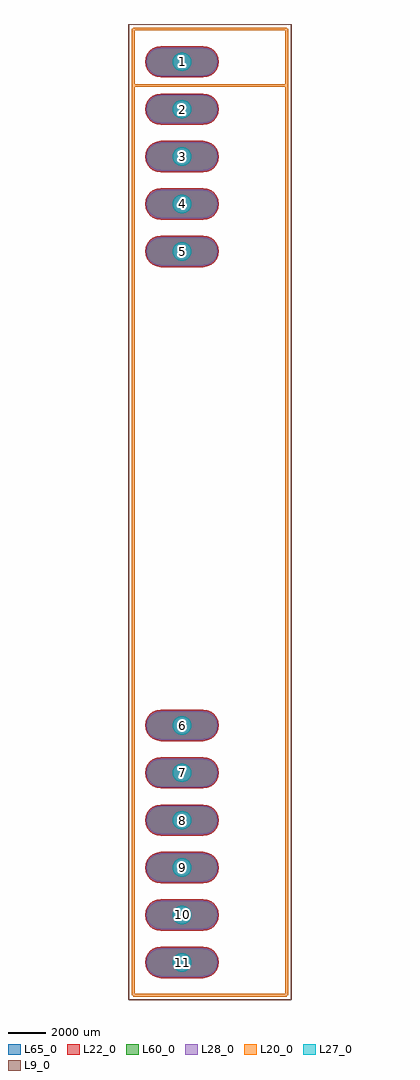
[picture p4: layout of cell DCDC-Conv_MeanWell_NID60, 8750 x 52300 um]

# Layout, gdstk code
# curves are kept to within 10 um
import gdstk
lib = gdstk.Library(unit=1e-6, precision=1e-09)
def P(c, l, *ps):  # polygons
    for p in ps: c.add(gdstk.Polygon(p, *l))
L9_0 = (9, 0)
L20_0 = (20, 0)
L22_0 = (22, 0)
L27_0 = (27, 0)
L28_0 = (28, 0)
L60_0 = (60, 0)
L65_0 = (65, 0)

dcdc_conv_meanwell_nid60 = lib.new_cell('DCDC-Conv_MeanWell_NID60')
P(dcdc_conv_meanwell_nid60, L22_0, [(-1143,-49097),(1143,-49097),(1359.632,-49068.48),(1561.5,-48984.863),(1734.848,-48851.848),(1867.863,-48678.5),(1951.48,-48476.632),(1980,-48260),(1951.48,-48043.368),(1867.863,-47841.5),(1734.848,-47668.152),(1561.5,-47535.137),(1359.632,-47451.52),(1143,-47423),(-1143,-47423),(-1359.632,-47451.52),(-1561.5,-47535.137),(-1734.848,-47668.152),(-1867.863,-47841.5),(-1951.48,-48043.368),(-1980,-48260),(-1951.48,-48476.632),(-1867.863,-48678.5),(-1734.848,-48851.848),(-1561.5,-48984.863),(-1359.632,-49068.48)],
  [(-1143,-46557),(1143,-46557),(1359.632,-46528.48),(1561.5,-46444.863),(1734.848,-46311.848),(1867.863,-46138.5),(1951.48,-45936.632),(1980,-45720),(1951.48,-45503.368),(1867.863,-45301.5),(1734.848,-45128.152),(1561.5,-44995.137),(1359.632,-44911.52),(1143,-44883),(-1143,-44883),(-1359.632,-44911.52),(-1561.5,-44995.137),(-1734.848,-45128.152),(-1867.863,-45301.5),(-1951.48,-45503.368),(-1980,-45720),(-1951.48,-45936.632),(-1867.863,-46138.5),(-1734.848,-46311.848),(-1561.5,-46444.863),(-1359.632,-46528.48)],
  [(-1143,-44017),(1143,-44017),(1359.632,-43988.48),(1561.5,-43904.863),(1734.848,-43771.848),(1867.863,-43598.5),(1951.48,-43396.632),(1980,-43180),(1951.48,-42963.368),(1867.863,-42761.5),(1734.848,-42588.152),(1561.5,-42455.137),(1359.632,-42371.52),(1143,-42343),(-1143,-42343),(-1359.632,-42371.52),(-1561.5,-42455.137),(-1734.848,-42588.152),(-1867.863,-42761.5),(-1951.48,-42963.368),(-1980,-43180),(-1951.48,-43396.632),(-1867.863,-43598.5),(-1734.848,-43771.848),(-1561.5,-43904.863),(-1359.632,-43988.48)],
  [(-1143,-41477),(1143,-41477),(1359.632,-41448.48),(1561.5,-41364.863),(1734.848,-41231.848),(1867.863,-41058.5),(1951.48,-40856.632),(1980,-40640),(1951.48,-40423.368),(1867.863,-40221.5),(1734.848,-40048.152),(1561.5,-39915.137),(1359.632,-39831.52),(1143,-39803),(-1143,-39803),(-1359.632,-39831.52),(-1561.5,-39915.137),(-1734.848,-40048.152),(-1867.863,-40221.5),(-1951.48,-40423.368),(-1980,-40640),(-1951.48,-40856.632),(-1867.863,-41058.5),(-1734.848,-41231.848),(-1561.5,-41364.863),(-1359.632,-41448.48)],
  [(-1143,-38937),(1143,-38937),(1359.632,-38908.48),(1561.5,-38824.863),(1734.848,-38691.848),(1867.863,-38518.5),(1951.48,-38316.632),(1980,-38100),(1951.48,-37883.368),(1867.863,-37681.5),(1734.848,-37508.152),(1561.5,-37375.137),(1359.632,-37291.52),(1143,-37263),(-1143,-37263),(-1359.632,-37291.52),(-1561.5,-37375.137),(-1734.848,-37508.152),(-1867.863,-37681.5),(-1951.48,-37883.368),(-1980,-38100),(-1951.48,-38316.632),(-1867.863,-38518.5),(-1734.848,-38691.848),(-1561.5,-38824.863),(-1359.632,-38908.48)],
  [(-1143,-36397),(1143,-36397),(1359.632,-36368.48),(1561.5,-36284.863),(1734.848,-36151.848),(1867.863,-35978.5),(1951.48,-35776.632),(1980,-35560),(1951.48,-35343.368),(1867.863,-35141.5),(1734.848,-34968.152),(1561.5,-34835.137),(1359.632,-34751.52),(1143,-34723),(-1143,-34723),(-1359.632,-34751.52),(-1561.5,-34835.137),(-1734.848,-34968.152),(-1867.863,-35141.5),(-1951.48,-35343.368),(-1980,-35560),(-1951.48,-35776.632),(-1867.863,-35978.5),(-1734.848,-36151.848),(-1561.5,-36284.863),(-1359.632,-36368.48)],
  [(-1143,-10997),(1143,-10997),(1359.632,-10968.48),(1561.5,-10884.863),(1734.848,-10751.848),(1867.863,-10578.5),(1951.48,-10376.632),(1980,-10160),(1951.48,-9943.368),(1867.863,-9741.5),(1734.848,-9568.152),(1561.5,-9435.137),(1359.632,-9351.52),(1143,-9323),(-1143,-9323),(-1359.632,-9351.52),(-1561.5,-9435.137),(-1734.848,-9568.152),(-1867.863,-9741.5),(-1951.48,-9943.368),(-1980,-10160),(-1951.48,-10376.632),(-1867.863,-10578.5),(-1734.848,-10751.848),(-1561.5,-10884.863),(-1359.632,-10968.48)],
  [(-1143,-8457),(1143,-8457),(1359.632,-8428.48),(1561.5,-8344.863),(1734.848,-8211.848),(1867.863,-8038.5),(1951.48,-7836.632),(1980,-7620),(1951.48,-7403.368),(1867.863,-7201.5),(1734.848,-7028.152),(1561.5,-6895.137),(1359.632,-6811.52),(1143,-6783),(-1143,-6783),(-1359.632,-6811.52),(-1561.5,-6895.137),(-1734.848,-7028.152),(-1867.863,-7201.5),(-1951.48,-7403.368),(-1980,-7620),(-1951.48,-7836.632),(-1867.863,-8038.5),(-1734.848,-8211.848),(-1561.5,-8344.863),(-1359.632,-8428.48)],
  [(-1143,-5917),(1143,-5917),(1359.632,-5888.48),(1561.5,-5804.863),(1734.848,-5671.848),(1867.863,-5498.5),(1951.48,-5296.632),(1980,-5080),(1951.48,-4863.368),(1867.863,-4661.5),(1734.848,-4488.152),(1561.5,-4355.137),(1359.632,-4271.52),(1143,-4243),(-1143,-4243),(-1359.632,-4271.52),(-1561.5,-4355.137),(-1734.848,-4488.152),(-1867.863,-4661.5),(-1951.48,-4863.368),(-1980,-5080),(-1951.48,-5296.632),(-1867.863,-5498.5),(-1734.848,-5671.848),(-1561.5,-5804.863),(-1359.632,-5888.48)],
  [(-1143,-3377),(1143,-3377),(1359.632,-3348.48),(1561.5,-3264.863),(1734.848,-3131.848),(1867.863,-2958.5),(1951.48,-2756.632),(1980,-2540),(1951.48,-2323.368),(1867.863,-2121.5),(1734.848,-1948.152),(1561.5,-1815.137),(1359.632,-1731.52),(1143,-1703),(-1143,-1703),(-1359.632,-1731.52),(-1561.5,-1815.137),(-1734.848,-1948.152),(-1867.863,-2121.5),(-1951.48,-2323.368),(-1980,-2540),(-1951.48,-2756.632),(-1867.863,-2958.5),(-1734.848,-3131.848),(-1561.5,-3264.863),(-1359.632,-3348.48)],
  [(-1143,-837),(1143,-837),(1359.632,-808.48),(1561.5,-724.863),(1734.848,-591.848),(1867.863,-418.5),(1951.48,-216.632),(1980,0),(1951.48,216.632),(1867.863,418.5),(1734.848,591.848),(1561.5,724.863),(1359.632,808.48),(1143,837),(-1143,837),(-1359.632,808.48),(-1561.5,724.863),(-1734.848,591.848),(-1867.863,418.5),(-1951.48,216.632),(-1980,0),(-1951.48,-216.632),(-1867.863,-418.5),(-1734.848,-591.848),(-1561.5,-724.863),(-1359.632,-808.48)])
P(dcdc_conv_meanwell_nid60, L27_0, [(499.999,-48260),(461.939,-48068.659),(353.553,-47906.447),(191.341,-47798.061),(0,-47760.001),(-191.341,-47798.061),(-353.553,-47906.447),(-461.939,-48068.659),(-499.999,-48260),(-461.939,-48451.341),(-353.553,-48613.553),(-191.341,-48721.939),(0,-48759.999),(191.341,-48721.939),(353.553,-48613.553),(461.939,-48451.341)],
  [(499.999,-45720),(461.939,-45528.659),(353.553,-45366.447),(191.341,-45258.061),(0,-45220.001),(-191.341,-45258.061),(-353.553,-45366.447),(-461.939,-45528.659),(-499.999,-45720),(-461.939,-45911.341),(-353.553,-46073.553),(-191.341,-46181.939),(0,-46219.999),(191.341,-46181.939),(353.553,-46073.553),(461.939,-45911.341)],
  [(499.999,-43180),(461.939,-42988.659),(353.553,-42826.447),(191.341,-42718.061),(0,-42680.001),(-191.341,-42718.061),(-353.553,-42826.447),(-461.939,-42988.659),(-499.999,-43180),(-461.939,-43371.341),(-353.553,-43533.553),(-191.341,-43641.939),(0,-43679.999),(191.341,-43641.939),(353.553,-43533.553),(461.939,-43371.341)],
  [(499.999,-40640),(461.939,-40448.659),(353.553,-40286.447),(191.341,-40178.061),(0,-40140.001),(-191.341,-40178.061),(-353.553,-40286.447),(-461.939,-40448.659),(-499.999,-40640),(-461.939,-40831.341),(-353.553,-40993.553),(-191.341,-41101.939),(0,-41139.999),(191.341,-41101.939),(353.553,-40993.553),(461.939,-40831.341)],
  [(499.999,-38100),(461.939,-37908.659),(353.553,-37746.447),(191.341,-37638.061),(0,-37600.001),(-191.341,-37638.061),(-353.553,-37746.447),(-461.939,-37908.659),(-499.999,-38100),(-461.939,-38291.341),(-353.553,-38453.553),(-191.341,-38561.939),(0,-38599.999),(191.341,-38561.939),(353.553,-38453.553),(461.939,-38291.341)],
  [(499.999,-35560),(461.939,-35368.659),(353.553,-35206.447),(191.341,-35098.061),(0,-35060.001),(-191.341,-35098.061),(-353.553,-35206.447),(-461.939,-35368.659),(-499.999,-35560),(-461.939,-35751.341),(-353.553,-35913.553),(-191.341,-36021.939),(0,-36059.999),(191.341,-36021.939),(353.553,-35913.553),(461.939,-35751.341)],
  [(499.999,-10160),(461.939,-9968.659),(353.553,-9806.447),(191.341,-9698.061),(0,-9660.001),(-191.341,-9698.061),(-353.553,-9806.447),(-461.939,-9968.659),(-499.999,-10160),(-461.939,-10351.341),(-353.553,-10513.553),(-191.341,-10621.939),(0,-10659.999),(191.341,-10621.939),(353.553,-10513.553),(461.939,-10351.341)],
  [(499.999,-7620),(461.939,-7428.659),(353.553,-7266.447),(191.341,-7158.061),(0,-7120.001),(-191.341,-7158.061),(-353.553,-7266.447),(-461.939,-7428.659),(-499.999,-7620),(-461.939,-7811.341),(-353.553,-7973.553),(-191.341,-8081.939),(0,-8119.999),(191.341,-8081.939),(353.553,-7973.553),(461.939,-7811.341)],
  [(499.999,-5080),(461.939,-4888.659),(353.553,-4726.447),(191.341,-4618.061),(0,-4580.001),(-191.341,-4618.061),(-353.553,-4726.447),(-461.939,-4888.659),(-499.999,-5080),(-461.939,-5271.341),(-353.553,-5433.553),(-191.341,-5541.939),(0,-5579.999),(191.341,-5541.939),(353.553,-5433.553),(461.939,-5271.341)],
  [(499.999,-2540),(461.939,-2348.659),(353.553,-2186.447),(191.341,-2078.061),(0,-2040.001),(-191.341,-2078.061),(-353.553,-2186.447),(-461.939,-2348.659),(-499.999,-2540),(-461.939,-2731.341),(-353.553,-2893.553),(-191.341,-3001.939),(0,-3039.999),(191.341,-3001.939),(353.553,-2893.553),(461.939,-2731.341)],
  [(499.999,0),(461.939,191.341),(353.553,353.553),(191.341,461.939),(0,499.999),(-191.341,461.939),(-353.553,353.553),(-461.939,191.341),(-499.999,0),(-461.939,-191.341),(-353.553,-353.553),(-191.341,-461.939),(0,-499.999),(191.341,-461.939),(353.553,-353.553),(461.939,-191.341)])
P(dcdc_conv_meanwell_nid60, L28_0, [(-1143,-49022),(1143,-49022),(1340.22,-48996.035),(1524,-48919.911),(1681.815,-48798.815),(1802.911,-48641),(1879.035,-48457.22),(1905,-48260),(1879.035,-48062.78),(1802.911,-47879),(1681.815,-47721.185),(1524,-47600.089),(1340.22,-47523.965),(1143,-47498),(-1143,-47498),(-1340.22,-47523.965),(-1524,-47600.089),(-1681.815,-47721.185),(-1802.911,-47879),(-1879.035,-48062.78),(-1905,-48260),(-1879.035,-48457.22),(-1802.911,-48641),(-1681.815,-48798.815),(-1524,-48919.911),(-1340.22,-48996.035)],
  [(-1143,-46482),(1143,-46482),(1340.22,-46456.035),(1524,-46379.911),(1681.815,-46258.815),(1802.911,-46101),(1879.035,-45917.22),(1905,-45720),(1879.035,-45522.78),(1802.911,-45339),(1681.815,-45181.185),(1524,-45060.089),(1340.22,-44983.965),(1143,-44958),(-1143,-44958),(-1340.22,-44983.965),(-1524,-45060.089),(-1681.815,-45181.185),(-1802.911,-45339),(-1879.035,-45522.78),(-1905,-45720),(-1879.035,-45917.22),(-1802.911,-46101),(-1681.815,-46258.815),(-1524,-46379.911),(-1340.22,-46456.035)],
  [(-1143,-43942),(1143,-43942),(1340.22,-43916.035),(1524,-43839.911),(1681.815,-43718.815),(1802.911,-43561),(1879.035,-43377.22),(1905,-43180),(1879.035,-42982.78),(1802.911,-42799),(1681.815,-42641.185),(1524,-42520.089),(1340.22,-42443.965),(1143,-42418),(-1143,-42418),(-1340.22,-42443.965),(-1524,-42520.089),(-1681.815,-42641.185),(-1802.911,-42799),(-1879.035,-42982.78),(-1905,-43180),(-1879.035,-43377.22),(-1802.911,-43561),(-1681.815,-43718.815),(-1524,-43839.911),(-1340.22,-43916.035)],
  [(-1143,-41402),(1143,-41402),(1340.22,-41376.035),(1524,-41299.911),(1681.815,-41178.815),(1802.911,-41021),(1879.035,-40837.22),(1905,-40640),(1879.035,-40442.78),(1802.911,-40259),(1681.815,-40101.185),(1524,-39980.089),(1340.22,-39903.965),(1143,-39878),(-1143,-39878),(-1340.22,-39903.965),(-1524,-39980.089),(-1681.815,-40101.185),(-1802.911,-40259),(-1879.035,-40442.78),(-1905,-40640),(-1879.035,-40837.22),(-1802.911,-41021),(-1681.815,-41178.815),(-1524,-41299.911),(-1340.22,-41376.035)],
  [(-1143,-38862),(1143,-38862),(1340.22,-38836.035),(1524,-38759.911),(1681.815,-38638.815),(1802.911,-38481),(1879.035,-38297.22),(1905,-38100),(1879.035,-37902.78),(1802.911,-37719),(1681.815,-37561.185),(1524,-37440.089),(1340.22,-37363.965),(1143,-37338),(-1143,-37338),(-1340.22,-37363.965),(-1524,-37440.089),(-1681.815,-37561.185),(-1802.911,-37719),(-1879.035,-37902.78),(-1905,-38100),(-1879.035,-38297.22),(-1802.911,-38481),(-1681.815,-38638.815),(-1524,-38759.911),(-1340.22,-38836.035)],
  [(-1143,-36322),(1143,-36322),(1340.22,-36296.035),(1524,-36219.911),(1681.815,-36098.815),(1802.911,-35941),(1879.035,-35757.22),(1905,-35560),(1879.035,-35362.78),(1802.911,-35179),(1681.815,-35021.185),(1524,-34900.089),(1340.22,-34823.965),(1143,-34798),(-1143,-34798),(-1340.22,-34823.965),(-1524,-34900.089),(-1681.815,-35021.185),(-1802.911,-35179),(-1879.035,-35362.78),(-1905,-35560),(-1879.035,-35757.22),(-1802.911,-35941),(-1681.815,-36098.815),(-1524,-36219.911),(-1340.22,-36296.035)],
  [(-1143,-10922),(1143,-10922),(1340.22,-10896.035),(1524,-10819.911),(1681.815,-10698.815),(1802.911,-10541),(1879.035,-10357.22),(1905,-10160),(1879.035,-9962.78),(1802.911,-9779),(1681.815,-9621.185),(1524,-9500.089),(1340.22,-9423.965),(1143,-9398),(-1143,-9398),(-1340.22,-9423.965),(-1524,-9500.089),(-1681.815,-9621.185),(-1802.911,-9779),(-1879.035,-9962.78),(-1905,-10160),(-1879.035,-10357.22),(-1802.911,-10541),(-1681.815,-10698.815),(-1524,-10819.911),(-1340.22,-10896.035)],
  [(-1143,-8382),(1143,-8382),(1340.22,-8356.035),(1524,-8279.911),(1681.815,-8158.815),(1802.911,-8001),(1879.035,-7817.22),(1905,-7620),(1879.035,-7422.78),(1802.911,-7239),(1681.815,-7081.185),(1524,-6960.089),(1340.22,-6883.965),(1143,-6858),(-1143,-6858),(-1340.22,-6883.965),(-1524,-6960.089),(-1681.815,-7081.185),(-1802.911,-7239),(-1879.035,-7422.78),(-1905,-7620),(-1879.035,-7817.22),(-1802.911,-8001),(-1681.815,-8158.815),(-1524,-8279.911),(-1340.22,-8356.035)],
  [(-1143,-5842),(1143,-5842),(1340.22,-5816.035),(1524,-5739.911),(1681.815,-5618.815),(1802.911,-5461),(1879.035,-5277.22),(1905,-5080),(1879.035,-4882.78),(1802.911,-4699),(1681.815,-4541.185),(1524,-4420.089),(1340.22,-4343.965),(1143,-4318),(-1143,-4318),(-1340.22,-4343.965),(-1524,-4420.089),(-1681.815,-4541.185),(-1802.911,-4699),(-1879.035,-4882.78),(-1905,-5080),(-1879.035,-5277.22),(-1802.911,-5461),(-1681.815,-5618.815),(-1524,-5739.911),(-1340.22,-5816.035)],
  [(-1143,-3302),(1143,-3302),(1340.22,-3276.035),(1524,-3199.911),(1681.815,-3078.815),(1802.911,-2921),(1879.035,-2737.22),(1905,-2540),(1879.035,-2342.78),(1802.911,-2159),(1681.815,-2001.185),(1524,-1880.089),(1340.22,-1803.965),(1143,-1778),(-1143,-1778),(-1340.22,-1803.965),(-1524,-1880.089),(-1681.815,-2001.185),(-1802.911,-2159),(-1879.035,-2342.78),(-1905,-2540),(-1879.035,-2737.22),(-1802.911,-2921),(-1681.815,-3078.815),(-1524,-3199.911),(-1340.22,-3276.035)],
  [(-1143,-762),(1143,-762),(1340.22,-736.035),(1524,-659.911),(1681.815,-538.815),(1802.911,-381),(1879.035,-197.22),(1905,0),(1879.035,197.22),(1802.911,381),(1681.815,538.815),(1524,659.911),(1340.22,736.035),(1143,762),(-1143,762),(-1340.22,736.035),(-1524,659.911),(-1681.815,538.815),(-1802.911,381),(-1879.035,197.22),(-1905,0),(-1879.035,-197.22),(-1802.911,-381),(-1681.815,-538.815),(-1524,-659.911),(-1340.22,-736.035)])
P(dcdc_conv_meanwell_nid60, L60_0, [(-1143,-49022),(1143,-49022),(1340.22,-48996.035),(1524,-48919.911),(1681.815,-48798.815),(1802.911,-48641),(1879.035,-48457.22),(1905,-48260),(1879.035,-48062.78),(1802.911,-47879),(1681.815,-47721.185),(1524,-47600.089),(1340.22,-47523.965),(1143,-47498),(-1143,-47498),(-1340.22,-47523.965),(-1524,-47600.089),(-1681.815,-47721.185),(-1802.911,-47879),(-1879.035,-48062.78),(-1905,-48260),(-1879.035,-48457.22),(-1802.911,-48641),(-1681.815,-48798.815),(-1524,-48919.911),(-1340.22,-48996.035)],
  [(-1143,-46482),(1143,-46482),(1340.22,-46456.035),(1524,-46379.911),(1681.815,-46258.815),(1802.911,-46101),(1879.035,-45917.22),(1905,-45720),(1879.035,-45522.78),(1802.911,-45339),(1681.815,-45181.185),(1524,-45060.089),(1340.22,-44983.965),(1143,-44958),(-1143,-44958),(-1340.22,-44983.965),(-1524,-45060.089),(-1681.815,-45181.185),(-1802.911,-45339),(-1879.035,-45522.78),(-1905,-45720),(-1879.035,-45917.22),(-1802.911,-46101),(-1681.815,-46258.815),(-1524,-46379.911),(-1340.22,-46456.035)],
  [(-1143,-43942),(1143,-43942),(1340.22,-43916.035),(1524,-43839.911),(1681.815,-43718.815),(1802.911,-43561),(1879.035,-43377.22),(1905,-43180),(1879.035,-42982.78),(1802.911,-42799),(1681.815,-42641.185),(1524,-42520.089),(1340.22,-42443.965),(1143,-42418),(-1143,-42418),(-1340.22,-42443.965),(-1524,-42520.089),(-1681.815,-42641.185),(-1802.911,-42799),(-1879.035,-42982.78),(-1905,-43180),(-1879.035,-43377.22),(-1802.911,-43561),(-1681.815,-43718.815),(-1524,-43839.911),(-1340.22,-43916.035)],
  [(-1143,-41402),(1143,-41402),(1340.22,-41376.035),(1524,-41299.911),(1681.815,-41178.815),(1802.911,-41021),(1879.035,-40837.22),(1905,-40640),(1879.035,-40442.78),(1802.911,-40259),(1681.815,-40101.185),(1524,-39980.089),(1340.22,-39903.965),(1143,-39878),(-1143,-39878),(-1340.22,-39903.965),(-1524,-39980.089),(-1681.815,-40101.185),(-1802.911,-40259),(-1879.035,-40442.78),(-1905,-40640),(-1879.035,-40837.22),(-1802.911,-41021),(-1681.815,-41178.815),(-1524,-41299.911),(-1340.22,-41376.035)],
  [(-1143,-38862),(1143,-38862),(1340.22,-38836.035),(1524,-38759.911),(1681.815,-38638.815),(1802.911,-38481),(1879.035,-38297.22),(1905,-38100),(1879.035,-37902.78),(1802.911,-37719),(1681.815,-37561.185),(1524,-37440.089),(1340.22,-37363.965),(1143,-37338),(-1143,-37338),(-1340.22,-37363.965),(-1524,-37440.089),(-1681.815,-37561.185),(-1802.911,-37719),(-1879.035,-37902.78),(-1905,-38100),(-1879.035,-38297.22),(-1802.911,-38481),(-1681.815,-38638.815),(-1524,-38759.911),(-1340.22,-38836.035)],
  [(-1143,-36322),(1143,-36322),(1340.22,-36296.035),(1524,-36219.911),(1681.815,-36098.815),(1802.911,-35941),(1879.035,-35757.22),(1905,-35560),(1879.035,-35362.78),(1802.911,-35179),(1681.815,-35021.185),(1524,-34900.089),(1340.22,-34823.965),(1143,-34798),(-1143,-34798),(-1340.22,-34823.965),(-1524,-34900.089),(-1681.815,-35021.185),(-1802.911,-35179),(-1879.035,-35362.78),(-1905,-35560),(-1879.035,-35757.22),(-1802.911,-35941),(-1681.815,-36098.815),(-1524,-36219.911),(-1340.22,-36296.035)],
  [(-1143,-10922),(1143,-10922),(1340.22,-10896.035),(1524,-10819.911),(1681.815,-10698.815),(1802.911,-10541),(1879.035,-10357.22),(1905,-10160),(1879.035,-9962.78),(1802.911,-9779),(1681.815,-9621.185),(1524,-9500.089),(1340.22,-9423.965),(1143,-9398),(-1143,-9398),(-1340.22,-9423.965),(-1524,-9500.089),(-1681.815,-9621.185),(-1802.911,-9779),(-1879.035,-9962.78),(-1905,-10160),(-1879.035,-10357.22),(-1802.911,-10541),(-1681.815,-10698.815),(-1524,-10819.911),(-1340.22,-10896.035)],
  [(-1143,-8382),(1143,-8382),(1340.22,-8356.035),(1524,-8279.911),(1681.815,-8158.815),(1802.911,-8001),(1879.035,-7817.22),(1905,-7620),(1879.035,-7422.78),(1802.911,-7239),(1681.815,-7081.185),(1524,-6960.089),(1340.22,-6883.965),(1143,-6858),(-1143,-6858),(-1340.22,-6883.965),(-1524,-6960.089),(-1681.815,-7081.185),(-1802.911,-7239),(-1879.035,-7422.78),(-1905,-7620),(-1879.035,-7817.22),(-1802.911,-8001),(-1681.815,-8158.815),(-1524,-8279.911),(-1340.22,-8356.035)],
  [(-1143,-5842),(1143,-5842),(1340.22,-5816.035),(1524,-5739.911),(1681.815,-5618.815),(1802.911,-5461),(1879.035,-5277.22),(1905,-5080),(1879.035,-4882.78),(1802.911,-4699),(1681.815,-4541.185),(1524,-4420.089),(1340.22,-4343.965),(1143,-4318),(-1143,-4318),(-1340.22,-4343.965),(-1524,-4420.089),(-1681.815,-4541.185),(-1802.911,-4699),(-1879.035,-4882.78),(-1905,-5080),(-1879.035,-5277.22),(-1802.911,-5461),(-1681.815,-5618.815),(-1524,-5739.911),(-1340.22,-5816.035)],
  [(-1143,-3302),(1143,-3302),(1340.22,-3276.035),(1524,-3199.911),(1681.815,-3078.815),(1802.911,-2921),(1879.035,-2737.22),(1905,-2540),(1879.035,-2342.78),(1802.911,-2159),(1681.815,-2001.185),(1524,-1880.089),(1340.22,-1803.965),(1143,-1778),(-1143,-1778),(-1340.22,-1803.965),(-1524,-1880.089),(-1681.815,-2001.185),(-1802.911,-2159),(-1879.035,-2342.78),(-1905,-2540),(-1879.035,-2737.22),(-1802.911,-2921),(-1681.815,-3078.815),(-1524,-3199.911),(-1340.22,-3276.035)],
  [(-1143,-762),(1143,-762),(1340.22,-736.035),(1524,-659.911),(1681.815,-538.815),(1802.911,-381),(1879.035,-197.22),(1905,0),(1879.035,197.22),(1802.911,381),(1681.815,538.815),(1524,659.911),(1340.22,736.035),(1143,762),(-1143,762),(-1340.22,736.035),(-1524,659.911),(-1681.815,538.815),(-1802.911,381),(-1879.035,197.22),(-1905,0),(-1879.035,-197.22),(-1802.911,-381),(-1681.815,-538.815),(-1524,-659.911),(-1340.22,-736.035)])
P(dcdc_conv_meanwell_nid60, L65_0, [(-1143,-49097),(1143,-49097),(1359.632,-49068.48),(1561.5,-48984.863),(1734.848,-48851.848),(1867.863,-48678.5),(1951.48,-48476.632),(1980,-48260),(1951.48,-48043.368),(1867.863,-47841.5),(1734.848,-47668.152),(1561.5,-47535.137),(1359.632,-47451.52),(1143,-47423),(-1143,-47423),(-1359.632,-47451.52),(-1561.5,-47535.137),(-1734.848,-47668.152),(-1867.863,-47841.5),(-1951.48,-48043.368),(-1980,-48260),(-1951.48,-48476.632),(-1867.863,-48678.5),(-1734.848,-48851.848),(-1561.5,-48984.863),(-1359.632,-49068.48)],
  [(-1143,-46557),(1143,-46557),(1359.632,-46528.48),(1561.5,-46444.863),(1734.848,-46311.848),(1867.863,-46138.5),(1951.48,-45936.632),(1980,-45720),(1951.48,-45503.368),(1867.863,-45301.5),(1734.848,-45128.152),(1561.5,-44995.137),(1359.632,-44911.52),(1143,-44883),(-1143,-44883),(-1359.632,-44911.52),(-1561.5,-44995.137),(-1734.848,-45128.152),(-1867.863,-45301.5),(-1951.48,-45503.368),(-1980,-45720),(-1951.48,-45936.632),(-1867.863,-46138.5),(-1734.848,-46311.848),(-1561.5,-46444.863),(-1359.632,-46528.48)],
  [(-1143,-44017),(1143,-44017),(1359.632,-43988.48),(1561.5,-43904.863),(1734.848,-43771.848),(1867.863,-43598.5),(1951.48,-43396.632),(1980,-43180),(1951.48,-42963.368),(1867.863,-42761.5),(1734.848,-42588.152),(1561.5,-42455.137),(1359.632,-42371.52),(1143,-42343),(-1143,-42343),(-1359.632,-42371.52),(-1561.5,-42455.137),(-1734.848,-42588.152),(-1867.863,-42761.5),(-1951.48,-42963.368),(-1980,-43180),(-1951.48,-43396.632),(-1867.863,-43598.5),(-1734.848,-43771.848),(-1561.5,-43904.863),(-1359.632,-43988.48)],
  [(-1143,-41477),(1143,-41477),(1359.632,-41448.48),(1561.5,-41364.863),(1734.848,-41231.848),(1867.863,-41058.5),(1951.48,-40856.632),(1980,-40640),(1951.48,-40423.368),(1867.863,-40221.5),(1734.848,-40048.152),(1561.5,-39915.137),(1359.632,-39831.52),(1143,-39803),(-1143,-39803),(-1359.632,-39831.52),(-1561.5,-39915.137),(-1734.848,-40048.152),(-1867.863,-40221.5),(-1951.48,-40423.368),(-1980,-40640),(-1951.48,-40856.632),(-1867.863,-41058.5),(-1734.848,-41231.848),(-1561.5,-41364.863),(-1359.632,-41448.48)],
  [(-1143,-38937),(1143,-38937),(1359.632,-38908.48),(1561.5,-38824.863),(1734.848,-38691.848),(1867.863,-38518.5),(1951.48,-38316.632),(1980,-38100),(1951.48,-37883.368),(1867.863,-37681.5),(1734.848,-37508.152),(1561.5,-37375.137),(1359.632,-37291.52),(1143,-37263),(-1143,-37263),(-1359.632,-37291.52),(-1561.5,-37375.137),(-1734.848,-37508.152),(-1867.863,-37681.5),(-1951.48,-37883.368),(-1980,-38100),(-1951.48,-38316.632),(-1867.863,-38518.5),(-1734.848,-38691.848),(-1561.5,-38824.863),(-1359.632,-38908.48)],
  [(-1143,-36397),(1143,-36397),(1359.632,-36368.48),(1561.5,-36284.863),(1734.848,-36151.848),(1867.863,-35978.5),(1951.48,-35776.632),(1980,-35560),(1951.48,-35343.368),(1867.863,-35141.5),(1734.848,-34968.152),(1561.5,-34835.137),(1359.632,-34751.52),(1143,-34723),(-1143,-34723),(-1359.632,-34751.52),(-1561.5,-34835.137),(-1734.848,-34968.152),(-1867.863,-35141.5),(-1951.48,-35343.368),(-1980,-35560),(-1951.48,-35776.632),(-1867.863,-35978.5),(-1734.848,-36151.848),(-1561.5,-36284.863),(-1359.632,-36368.48)],
  [(-1143,-10997),(1143,-10997),(1359.632,-10968.48),(1561.5,-10884.863),(1734.848,-10751.848),(1867.863,-10578.5),(1951.48,-10376.632),(1980,-10160),(1951.48,-9943.368),(1867.863,-9741.5),(1734.848,-9568.152),(1561.5,-9435.137),(1359.632,-9351.52),(1143,-9323),(-1143,-9323),(-1359.632,-9351.52),(-1561.5,-9435.137),(-1734.848,-9568.152),(-1867.863,-9741.5),(-1951.48,-9943.368),(-1980,-10160),(-1951.48,-10376.632),(-1867.863,-10578.5),(-1734.848,-10751.848),(-1561.5,-10884.863),(-1359.632,-10968.48)],
  [(-1143,-8457),(1143,-8457),(1359.632,-8428.48),(1561.5,-8344.863),(1734.848,-8211.848),(1867.863,-8038.5),(1951.48,-7836.632),(1980,-7620),(1951.48,-7403.368),(1867.863,-7201.5),(1734.848,-7028.152),(1561.5,-6895.137),(1359.632,-6811.52),(1143,-6783),(-1143,-6783),(-1359.632,-6811.52),(-1561.5,-6895.137),(-1734.848,-7028.152),(-1867.863,-7201.5),(-1951.48,-7403.368),(-1980,-7620),(-1951.48,-7836.632),(-1867.863,-8038.5),(-1734.848,-8211.848),(-1561.5,-8344.863),(-1359.632,-8428.48)],
  [(-1143,-5917),(1143,-5917),(1359.632,-5888.48),(1561.5,-5804.863),(1734.848,-5671.848),(1867.863,-5498.5),(1951.48,-5296.632),(1980,-5080),(1951.48,-4863.368),(1867.863,-4661.5),(1734.848,-4488.152),(1561.5,-4355.137),(1359.632,-4271.52),(1143,-4243),(-1143,-4243),(-1359.632,-4271.52),(-1561.5,-4355.137),(-1734.848,-4488.152),(-1867.863,-4661.5),(-1951.48,-4863.368),(-1980,-5080),(-1951.48,-5296.632),(-1867.863,-5498.5),(-1734.848,-5671.848),(-1561.5,-5804.863),(-1359.632,-5888.48)],
  [(-1143,-3377),(1143,-3377),(1359.632,-3348.48),(1561.5,-3264.863),(1734.848,-3131.848),(1867.863,-2958.5),(1951.48,-2756.632),(1980,-2540),(1951.48,-2323.368),(1867.863,-2121.5),(1734.848,-1948.152),(1561.5,-1815.137),(1359.632,-1731.52),(1143,-1703),(-1143,-1703),(-1359.632,-1731.52),(-1561.5,-1815.137),(-1734.848,-1948.152),(-1867.863,-2121.5),(-1951.48,-2323.368),(-1980,-2540),(-1951.48,-2756.632),(-1867.863,-2958.5),(-1734.848,-3131.848),(-1561.5,-3264.863),(-1359.632,-3348.48)],
  [(-1143,-837),(1143,-837),(1359.632,-808.48),(1561.5,-724.863),(1734.848,-591.848),(1867.863,-418.5),(1951.48,-216.632),(1980,0),(1951.48,216.632),(1867.863,418.5),(1734.848,591.848),(1561.5,724.863),(1359.632,808.48),(1143,837),(-1143,837),(-1359.632,808.48),(-1561.5,724.863),(-1734.848,591.848),(-1867.863,418.5),(-1951.48,216.632),(-1980,0),(-1951.48,-216.632),(-1867.863,-418.5),(-1734.848,-591.848),(-1561.5,-724.863),(-1359.632,-808.48)])
dcdc_conv_meanwell_nid60.add(gdstk.FlexPath([(-2605,-1270),(5600,-1270)], 149.998, ends="flush", simple_path=True, layer=20, datatype=0))  # L20_0
dcdc_conv_meanwell_nid60.add(gdstk.FlexPath([(-2605,-50022),(-2605,1762)], 149.998, ends="flush", simple_path=True, layer=20, datatype=0))  # L20_0
dcdc_conv_meanwell_nid60.add(gdstk.FlexPath([(5600,-50022),(-2605,-50022)], 149.998, ends="flush", simple_path=True, layer=20, datatype=0))  # L20_0
dcdc_conv_meanwell_nid60.add(gdstk.FlexPath([(5605,1762),(5605,-50022)], 149.998, ends="flush", simple_path=True, layer=20, datatype=0))  # L20_0
dcdc_conv_meanwell_nid60.add(gdstk.FlexPath([(-2605,1762),(5600,1762)], 149.998, ends="flush", simple_path=True, layer=20, datatype=0))  # L20_0
dcdc_conv_meanwell_nid60.add(gdstk.FlexPath([(-2850,-50250),(5850,-50250)], 50, ends="flush", simple_path=True, layer=9, datatype=0))  # L9_0
dcdc_conv_meanwell_nid60.add(gdstk.FlexPath([(-2850,2000),(5850,2000)], 50, ends="flush", simple_path=True, layer=9, datatype=0))  # L9_0
dcdc_conv_meanwell_nid60.add(gdstk.FlexPath([(5850,2000),(5850,-50250)], 50, ends="flush", simple_path=True, layer=9, datatype=0))  # L9_0
dcdc_conv_meanwell_nid60.add(gdstk.FlexPath([(-2850,2000),(-2850,-50250)], 50, ends="flush", simple_path=True, layer=9, datatype=0))  # L9_0
dcdc_conv_meanwell_nid60.add(gdstk.Label('11', (0,-48260), layer=28, texttype=0))
dcdc_conv_meanwell_nid60.add(gdstk.Label('10', (0,-45720), layer=28, texttype=0))
dcdc_conv_meanwell_nid60.add(gdstk.Label('9', (0,-43180), layer=28, texttype=0))
dcdc_conv_meanwell_nid60.add(gdstk.Label('8', (0,-40640), layer=28, texttype=0))
dcdc_conv_meanwell_nid60.add(gdstk.Label('7', (0,-38100), layer=28, texttype=0))
dcdc_conv_meanwell_nid60.add(gdstk.Label('6', (0,-35560), layer=28, texttype=0))
dcdc_conv_meanwell_nid60.add(gdstk.Label('5', (0,-10160), layer=28, texttype=0))
dcdc_conv_meanwell_nid60.add(gdstk.Label('4', (0,-7620), layer=28, texttype=0))
dcdc_conv_meanwell_nid60.add(gdstk.Label('3', (0,-5080), layer=28, texttype=0))
dcdc_conv_meanwell_nid60.add(gdstk.Label('2', (0,-2540), layer=28, texttype=0))
dcdc_conv_meanwell_nid60.add(gdstk.Label('1', (0,0), layer=28, texttype=0))
dcdc_conv_meanwell_nid60.add(gdstk.Label('type', (0,3600), layer=9, texttype=0))
dcdc_conv_meanwell_nid60.add(gdstk.Label('devicename', (0,5600), layer=9, texttype=0))

lib.write_gds('DCDC-Conv_MeanWell_NID60.gds')
